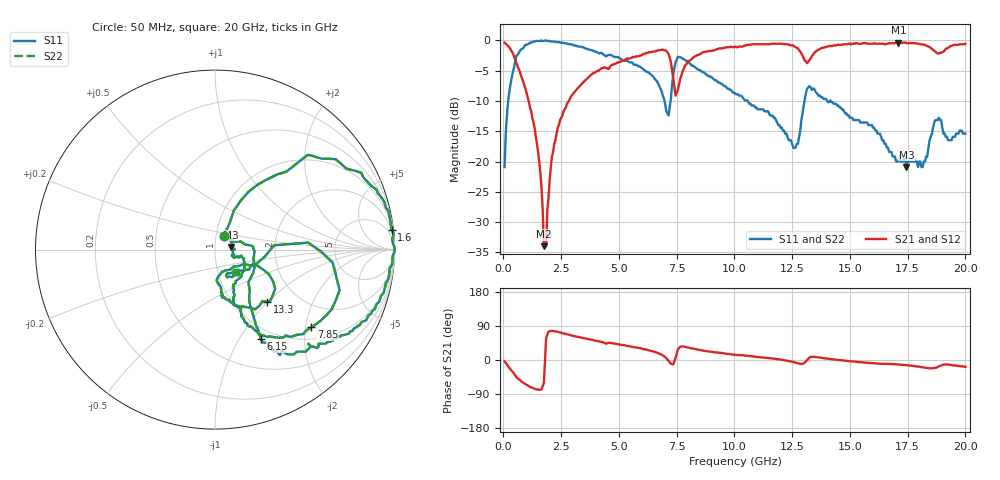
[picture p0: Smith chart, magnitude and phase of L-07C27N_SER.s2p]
#	mhz	s	ma	r	50
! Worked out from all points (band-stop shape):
!   400 points, 50 MHz to 20 GHz, reference 50 ohm
!   highest |S21| = -0.35 dB at 17.1 GHz (marker M1); lowest = -34.0 dB at 1.75 GHz (marker M2)
!   |S21| within 3 dB of the highest: 8.048 GHz to 13.05 GHz (5.004 GHz wide, 47.4 % of centre); 13.22 GHz to end of sweep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
!   lowest |S11| = -20.9 dB at 17.45 GHz (marker M3), VSWR 1.20, Z = 59.7 + j1.75 ohm
!   |S11| at or under -10 dB: 6.972 GHz to 7.237 GHz (264.7 MHz wide, 3.73 % of centre); 10.57 GHz to 13.03 GHz (2.465 GHz wide, 20.9 % of centre); 14.17 GHz to end of sweep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
!   |S22| runs from -20.9 to 0.0 dB; largest |S21 - S12| = 0
!   S11 on the Smith chart (normalised r, x): 50 MHz: 1.09, +0.17; 1.6 GHz: 2, +18; 6.15 GHz: 0.86, -1.24; 7.85 GHz: 1.30, -2.16; 13.3 GHz: 1.41, -0.99; 20 GHz: 1.22, -0.31
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50  0.09 57.8  0.96 -3.4  0.96 -3.4  0.09 57.8
200  0.31 62.2  0.9 -16.1  0.9 -16.1  0.31 62.2
550  0.74 45.6  0.66 -44.7  0.66 -44.7  0.74 45.6
1600  0.99 6.4  0.08 -78.1  0.08 -78.1  0.99 6.4
1750  0.99 2.3  0.02 -60.9  0.02 -60.9  0.99 2.3
2350  0.97 -12.8  0.19 74.5  0.19 74.5  0.97 -12.8
3400  0.88 -31.3  0.44 58.6  0.44 58.6  0.88 -31.3
6150  0.56 -62.8  0.78 27.9  0.78 27.9  0.56 -62.8
6700  0.44 -60.3  0.83 18.2  0.83 18.2  0.44 -60.3
7150  0.24 -20.4  0.77 -2.0  0.77 -2.0  0.24 -20.4
7350  0.52 4.3  0.49 -11.8  0.49 -11.8  0.52 4.3
7850  0.69 -38.9  0.61 35.1  0.61 35.1  0.69 -38.9
10050  0.36 -66.9  0.89 13.4  0.89 13.4  0.36 -66.9
12650  0.13 -63.1  0.88 -6.8  0.88 -6.8  0.13 -63.1
13300  0.41 -45.1  0.71 7.6  0.71 7.6  0.41 -45.1
13350  0.39 -47.3  0.74 8.5  0.74 8.5  0.39 -47.3
16700  0.12 -19.2  0.95 -10.5  0.95 -10.5  0.12 -19.2
17100  0.1 -17.1  0.96 -12.0  0.96 -12.0  0.1 -17.1
17450  0.09 9.3  0.95 -13.5  0.95 -13.5  0.09 9.3
18150  0.09 41.7  0.93 -19.2  0.93 -19.2  0.09 41.7
18850  0.23 -18.3  0.78 -16.7  0.78 -16.7  0.23 -18.3
20000  0.17 -47.5  0.94 -18.0  0.94 -18.0  0.17 -47.5
